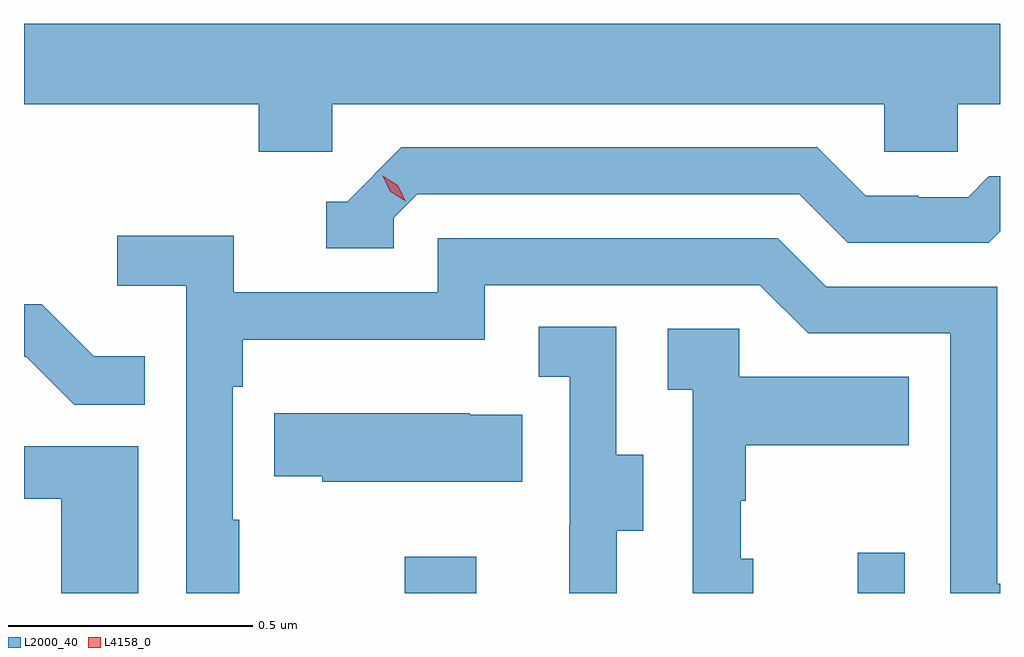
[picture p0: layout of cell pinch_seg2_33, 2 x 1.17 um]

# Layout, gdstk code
import gdstk
lib = gdstk.Library(unit=1e-6, precision=1e-09)
def R(c, l, rs):  # rectangles x0, y0, x1, y1
    for r in rs: c.add(gdstk.rectangle(r[:2], r[2:], *l))
def P(c, l, *ps):  # polygons
    for p in ps: c.add(gdstk.Polygon(p, *l))
L2000_40 = (2000, 40)
L4158_0 = (4158, 0)

pinch_seg2_33 = lib.new_cell('pinch_seg2_33')
R(pinch_seg2_33, L2000_40, [(1121.98,651.962,1122.127,652.036), (1122.908,651.962,1123.005,652.045)])
P(pinch_seg2_33, L2000_40, [(1121.832,652.964),(1122.963,652.964),(1122.963,652.866),(1123.113,652.866),(1123.113,652.964),(1123.2,652.964),(1123.2,653.128),(1121.2,653.128),(1121.2,652.964),(1121.681,652.964),(1121.681,652.866),(1121.832,652.866)],
  [(1121.958,652.731),(1122.006,652.779),(1122.789,652.779),(1122.888,652.68),(1123.177,652.68),(1123.2,652.703),(1123.2,652.816),(1123.177,652.816),(1123.135,652.773),(1123.032,652.773),(1123.032,652.776),(1122.925,652.776),(1122.826,652.875),(1121.973,652.875),(1121.862,652.764),(1121.819,652.764),(1121.819,652.668),(1121.958,652.668)],
  [(1121.641,652.112),(1121.628,652.112),(1121.628,652.385),(1121.648,652.385),(1121.648,652.481),(1122.144,652.481),(1122.144,652.593),(1122.708,652.593),(1122.807,652.494),(1123.098,652.494),(1123.098,651.962),(1123.2,651.962),(1123.2,651.981),(1123.194,651.981),(1123.194,652.59),(1122.844,652.59),(1122.745,652.689),(1122.048,652.689),(1122.048,652.578),(1121.63,652.578),(1121.63,652.694),(1121.391,652.694),(1121.391,652.592),(1121.532,652.592),(1121.532,651.962),(1121.641,651.962)],
  [(1121.447,652.447),(1121.343,652.447),(1121.236,652.554),(1121.2,652.554),(1121.2,652.446),(1121.205,652.446),(1121.303,652.348),(1121.447,652.348)],
  [(1122.415,652.09),(1122.469,652.09),(1122.469,652.245),(1122.414,652.245),(1122.414,652.508),(1122.255,652.508),(1122.255,652.405),(1122.318,652.405),(1122.318,652.101),(1122.317,652.101),(1122.317,651.962),(1122.415,651.962)],
  [(1122.694,652.032),(1122.669,652.032),(1122.669,652.151),(1122.679,652.151),(1122.679,652.265),(1123.013,652.265),(1123.013,652.405),(1122.666,652.405),(1122.666,652.503),(1122.519,652.503),(1122.519,652.379),(1122.57,652.379),(1122.57,651.962),(1122.694,651.962)],
  [(1122.221,652.327),(1122.113,652.327),(1122.113,652.33),(1121.713,652.33),(1121.713,652.201),(1121.811,652.201),(1121.811,652.19),(1122.221,652.19)],
  [(1121.434,652.263),(1121.2,652.263),(1121.2,652.155),(1121.276,652.155),(1121.276,651.962),(1121.434,651.962)])
P(pinch_seg2_33, L4158_0, [(1121.982,652.765),(1121.951,652.784),(1121.935,652.817),(1121.935,652.817),(1121.935,652.817),(1121.966,652.798),(1121.982,652.765),(1121.982,652.765)])

lib.write_gds('pinch_seg2_33.gds')
